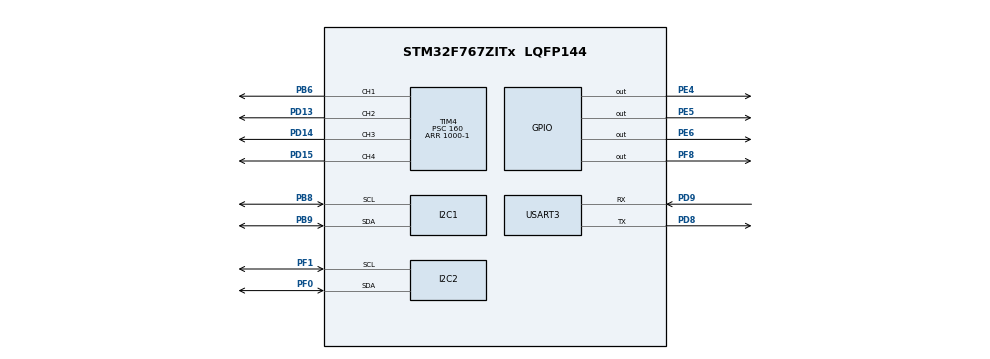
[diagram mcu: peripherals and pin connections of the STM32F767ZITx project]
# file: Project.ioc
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FREERTOS.Tasks01=defaultTask,0,128,StartDefaultTask,Default,NULL,Dynamic,NULL,NULL
Mcu.Family=STM32F7
Mcu.Name=STM32F767ZITx
Mcu.Package=LQFP144
NVIC.PriorityGroup=NVIC_PRIORITYGROUP_4
PB6.Signal=S_TIM4_CH1
PB8.Mode=I2C
PB8.Signal=I2C1_SCL
PB9.Mode=I2C
PB9.Signal=I2C1_SDA
PD13.Signal=S_TIM4_CH2
PD14.Signal=S_TIM4_CH3
PD15.Signal=S_TIM4_CH4
PD8.Mode=Asynchronous
PD8.Signal=USART3_TX
PD9.Mode=Asynchronous
PD9.Signal=USART3_RX
PE4.Signal=GPIO_Output
PE5.Signal=GPIO_Output
PE6.Signal=GPIO_Output
PF0.Mode=I2C
PF0.Signal=I2C2_SDA
PF1.Mode=I2C
PF1.Signal=I2C2_SCL
PF8.Signal=GPIO_Output
ProjectManager.HeapSize=0x200
ProjectManager.StackSize=0x400
ProjectManager.TargetToolchain=STM32CubeIDE
RCC.HSE_VALUE=25000000
RCC.HSI_VALUE=16000000
RCC.LSE_VALUE=32768
RCC.USBFreq_Value=96000000
RCC.VCOOutputFreq_Value=192000000
SH.S_TIM4_CH1.0=TIM4_CH1,PWM Generation1 CH1
SH.S_TIM4_CH2.0=TIM4_CH2,PWM Generation2 CH2
SH.S_TIM4_CH3.0=TIM4_CH3,PWM Generation3 CH3
SH.S_TIM4_CH4.0=TIM4_CH4,PWM Generation4 CH4
TIM4.Channel-PWM\ Generation1\ CH1=TIM_CHANNEL_1
TIM4.Channel-PWM\ Generation2\ CH2=TIM_CHANNEL_2
TIM4.Channel-PWM\ Generation3\ CH3=TIM_CHANNEL_3
TIM4.Channel-PWM\ Generation4\ CH4=TIM_CHANNEL_4
TIM4.Period=1000-1
TIM4.Prescaler=160
USART3.VirtualMode-Asynchronous=VM_ASYNC
VP_FREERTOS_VS_CMSIS_V1.Mode=CMSIS_V1
board=custom

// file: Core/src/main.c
/* USER CODE BEGIN Header */
/**
  ******************************************************************************
  * @file           : main.c
  * @brief          : Main program body
  ******************************************************************************
  * @attention
  *
  * <h2><center>&copy; Copyright (c) 2021 STMicroelectronics.
  * All rights reserved.</center></h2>
  *
  * This software component is licensed by ST under BSD 3-Clause license,
  * the "License"; You may not use this file except in compliance with the
  * License. You may obtain a copy of the License at:
  *                        opensource.org/licenses/BSD-3-Clause
  *
  ******************************************************************************
  */
/* USER CODE END Header */
#include "main.h"
#include "cmsis_os.h"
#include "i2c.h"
#include "tim.h"
#include "usart.h"
#include "gpio.h"

/* USER CODE BEGIN Includes */
#include "FreeRTOS.h"
#include "queue.h"
#include "task.h"
#define STACK_SIZE 128
/* USER CODE END Includes */

void SystemClock_Config(void);
void MX_FREERTOS_Init(void);
/* USER CODE BEGIN PFP */
__STATIC_INLINE void  Configure_TIMPWMOutput(void);
uint32_t TimOutClock;
void Forward(void);
void Backward(void);
void Rightward(void);
void Leftward(void);
void Stop(void);
void Motivation_Task(void);
void Uart_Rx_Task(void);
/* USER CODE END PFP */

/* USER CODE BEGIN 0 */
static QueueHandle_t ledCmdQueue = NULL;
/* USER CODE END 0 */

int main(void)
{

  /* MCU Configuration--------------------------------------------------------*/

  /* Reset of all peripherals, Initializes the Flash interface and the Systick. */

  LL_APB1_GRP1_EnableClock(LL_APB1_GRP1_PERIPH_PWR);
  LL_APB2_GRP1_EnableClock(LL_APB2_GRP1_PERIPH_SYSCFG);

  NVIC_SetPriorityGrouping(NVIC_PRIORITYGROUP_4);

  /* System interrupt init*/
  /* PendSV_IRQn interrupt configuration */
  NVIC_SetPriority(PendSV_IRQn, NVIC_EncodePriority(NVIC_GetPriorityGrouping(),15, 0));
  /* SysTick_IRQn interrupt configuration */
  NVIC_SetPriority(SysTick_IRQn, NVIC_EncodePriority(NVIC_GetPriorityGrouping(),15, 0));

  /* Configure the system clock */
  SystemClock_Config();

  /* Initialize all configured peripherals */
  MX_GPIO_Init();
  MX_TIM4_Init();
  MX_I2C1_Init();
  MX_USART3_UART_Init();
  MX_I2C2_Init();
  /* USER CODE BEGIN 2 */
  Configure_TIMPWMOutput();
  if(xTaskCreate(Motivation_Task, "Motivation_Task", STACK_SIZE, NULL, tskIDLE_PRIORITY + 2,NULL)!=pdPASS){while(1);}
  if(xTaskCreate(Uart_Rx_Task, "Uart_Rx_Task", STACK_SIZE, NULL, tskIDLE_PRIORITY+2,NULL)!=pdPASS){while(1);}
  ledCmdQueue = xQueueCreate(2, sizeof(uint8_t));
  while(ledCmdQueue == NULL);
  vTaskStartScheduler();

  if(0){
  /* USER CODE END 2 */

  /* Call init function for freertos objects (in freertos.c) */
  MX_FREERTOS_Init();
  /* Start scheduler */
  osKernelStart();

  /* We should never get here as control is now taken by the scheduler */
  /* Infinite loop */
  }
  while (1)
  {

    /* USER CODE BEGIN 3 */
	  Forward();
	  Backward();
	  Rightward();
	  Leftward();

   }
  /* USER CODE END 3 */
}

void SystemClock_Config(void)
{
  LL_FLASH_SetLatency(LL_FLASH_LATENCY_0);
  while(LL_FLASH_GetLatency()!= LL_FLASH_LATENCY_0)
  {
  }
  LL_PWR_SetRegulVoltageScaling(LL_PWR_REGU_VOLTAGE_SCALE3);
  LL_PWR_DisableOverDriveMode();
  LL_RCC_HSI_SetCalibTrimming(16);
  LL_RCC_HSI_Enable();

   /* Wait till HSI is ready */
  while(LL_RCC_HSI_IsReady() != 1)
  {

  }
  LL_RCC_SetAHBPrescaler(LL_RCC_SYSCLK_DIV_1);
  LL_RCC_SetAPB1Prescaler(LL_RCC_APB1_DIV_1);
  LL_RCC_SetAPB2Prescaler(LL_RCC_APB2_DIV_1);
  LL_RCC_SetSysClkSource(LL_RCC_SYS_CLKSOURCE_HSI);

   /* Wait till System clock is ready */
  while(LL_RCC_GetSysClkSource() != LL_RCC_SYS_CLKSOURCE_STATUS_HSI)
  {

  }
  LL_Init1msTick(16000000);
  LL_SetSystemCoreClock(16000000);
  LL_RCC_SetUSARTClockSource(LL_RCC_USART3_CLKSOURCE_PCLK1);
  LL_RCC_SetI2CClockSource(LL_RCC_I2C1_CLKSOURCE_PCLK1);
  LL_RCC_SetI2CClockSource(LL_RCC_I2C2_CLKSOURCE_PCLK1);
}

/* USER CODE BEGIN 4 */
__STATIC_INLINE void  Configure_TIMPWMOutput(void)
{
  /*************************/
  /* GPIO AF configuration */
  /*************************/
  /* Enable the peripheral clock of GPIOs */
  LL_AHB1_GRP1_EnableClock(LL_AHB1_GRP1_PERIPH_GPIOD);

  LL_GPIO_InitTypeDef GPIO_InitStruct = {0};
  GPIO_InitStruct.Pin = LL_GPIO_PIN_6;
  GPIO_InitStruct.Mode = LL_GPIO_MODE_ALTERNATE;
  GPIO_InitStruct.Speed = LL_GPIO_SPEED_FREQ_LOW;
  GPIO_InitStruct.OutputType = LL_GPIO_OUTPUT_PUSHPULL;
  GPIO_InitStruct.Pull = LL_GPIO_PULL_NO;
  GPIO_InitStruct.Alternate = LL_GPIO_AF_2;
  LL_GPIO_Init(GPIOB, &GPIO_InitStruct);

  GPIO_InitStruct.Pin = LL_GPIO_PIN_13;
  GPIO_InitStruct.Mode = LL_GPIO_MODE_ALTERNATE;
  GPIO_InitStruct.Speed = LL_GPIO_SPEED_FREQ_LOW;
  GPIO_InitStruct.OutputType = LL_GPIO_OUTPUT_PUSHPULL;
  GPIO_InitStruct.Pull = LL_GPIO_PULL_NO;
  GPIO_InitStruct.Alternate = LL_GPIO_AF_2;
  LL_GPIO_Init(GPIOD, &GPIO_InitStruct);

  GPIO_InitStruct.Pin = LL_GPIO_PIN_14;
  GPIO_InitStruct.Mode = LL_GPIO_MODE_ALTERNATE;
  GPIO_InitStruct.Speed = LL_GPIO_SPEED_FREQ_LOW;
  GPIO_InitStruct.OutputType = LL_GPIO_OUTPUT_PUSHPULL;
  GPIO_InitStruct.Pull = LL_GPIO_PULL_NO;
  GPIO_InitStruct.Alternate = LL_GPIO_AF_2;
  LL_GPIO_Init(GPIOD, &GPIO_InitStruct);

  GPIO_InitStruct.Pin = LL_GPIO_PIN_15;
  GPIO_InitStruct.Mode = LL_GPIO_MODE_ALTERNATE;
  GPIO_InitStruct.Speed = LL_GPIO_SPEED_FREQ_LOW;
  GPIO_InitStruct.OutputType = LL_GPIO_OUTPUT_PUSHPULL;
  GPIO_InitStruct.Pull = LL_GPIO_PULL_NO;
  GPIO_InitStruct.Alternate = LL_GPIO_AF_2;
  LL_GPIO_Init(GPIOD, &GPIO_InitStruct);

  /***********************************************/
  /* Configure the NVIC to handle TIM4 interrupt */
  /***********************************************/
  NVIC_SetPriority(TIM4_IRQn, 0);
  NVIC_DisableIRQ(TIM4_IRQn);

  /******************************/
  /* Peripheral clocks enabling */
  /******************************/
  /* Enable the timer peripheral clock */
  LL_APB1_GRP1_EnableClock(LL_APB1_GRP1_PERIPH_TIM4);

  /***************************/
  /* Time base configuration */
  /***************************/
  /* Set counter mode */
  /* Reset value is LL_TIM_COUNTERMODE_UP */
  LL_TIM_SetCounterMode(TIM4, LL_TIM_COUNTERMODE_UP);

  /* Set the pre-scaler value to have TIM1 counter clock equal to 10 kHz */
  LL_TIM_SetPrescaler(TIM4, __LL_TIM_CALC_PSC(SystemCoreClock, 10000));

  /* Enable TIM1_ARR register preload. Writing to or reading from the         */
  /* auto-reload register accesses the preload register. The content of the   */
  /* preload register are transferred into the shadow register at each update */
  /* event (UEV).                                                             */
  LL_TIM_EnableARRPreload(TIM4);

  /* Set the auto-reload value to have a counter frequency of 100 Hz */
  /* TIM1CLK = SystemCoreClock / (APB prescaler & multiplier)               */
  TimOutClock = SystemCoreClock/2;
  LL_TIM_SetAutoReload(TIM4, __LL_TIM_CALC_ARR(TimOutClock, LL_TIM_GetPrescaler(TIM4), 100));

  /*********************************/
  /* Output waveform configuration */
  /*********************************/
  /* Set output mode */
  /* Reset value is LL_TIM_OCMODE_FROZEN */
  LL_TIM_OC_SetMode(TIM4, LL_TIM_CHANNEL_CH1, LL_TIM_OCMODE_PWM1);
  LL_TIM_OC_SetMode(TIM4, LL_TIM_CHANNEL_CH2, LL_TIM_OCMODE_PWM1);
  LL_TIM_OC_SetMode(TIM4, LL_TIM_CHANNEL_CH3, LL_TIM_OCMODE_PWM1);
  LL_TIM_OC_SetMode(TIM4, LL_TIM_CHANNEL_CH4, LL_TIM_OCMODE_PWM1);

  /* Set output channel polarity */
  /* Reset value is LL_TIM_OCPOLARITY_HIGH */
  LL_TIM_OC_SetPolarity(TIM4, LL_TIM_CHANNEL_CH1, LL_TIM_OCPOLARITY_HIGH);
  LL_TIM_OC_SetPolarity(TIM4, LL_TIM_CHANNEL_CH2, LL_TIM_OCPOLARITY_HIGH);
  LL_TIM_OC_SetPolarity(TIM4, LL_TIM_CHANNEL_CH3, LL_TIM_OCPOLARITY_HIGH);
  LL_TIM_OC_SetPolarity(TIM4, LL_TIM_CHANNEL_CH4, LL_TIM_OCPOLARITY_HIGH);

  /* Set compare value to half of the counter period (50% duty cycle ) */
  LL_TIM_OC_SetCompareCH1(TIM4, 0);
  LL_TIM_OC_SetCompareCH2(TIM4, 0);
  LL_TIM_OC_SetCompareCH3(TIM4, 0);
  LL_TIM_OC_SetCompareCH4(TIM4, 0);

  /* Enable TIM1_CCR1 register preload. Read/Write operations access the      */
  /* preload register. TIM4_CCR1~4 preload value is loaded in the active        */
  /* at each update event.                                                    */
  LL_TIM_OC_EnablePreload(TIM4, LL_TIM_CHANNEL_CH1);
  LL_TIM_OC_EnablePreload(TIM4, LL_TIM_CHANNEL_CH2);
  LL_TIM_OC_EnablePreload(TIM4, LL_TIM_CHANNEL_CH3);
  LL_TIM_OC_EnablePreload(TIM4, LL_TIM_CHANNEL_CH4);

  /**************************/
  /* TIM4 interrupts set-up */
  /**************************/
  /* Enable the capture/compare interrupt for channel 1~4*/
  LL_TIM_EnableIT_CC1(TIM4);
  LL_TIM_EnableIT_CC2(TIM4);
  LL_TIM_EnableIT_CC3(TIM4);
  LL_TIM_EnableIT_CC4(TIM4);

  /**********************************/
  /* Start output signal generation */
  /**********************************/
  /* Enable output channel 1~4 */
  LL_TIM_CC_EnableChannel(TIM4, LL_TIM_CHANNEL_CH1);
  LL_TIM_CC_EnableChannel(TIM4, LL_TIM_CHANNEL_CH2);
  LL_TIM_CC_EnableChannel(TIM4, LL_TIM_CHANNEL_CH3);
  LL_TIM_CC_EnableChannel(TIM4, LL_TIM_CHANNEL_CH4);

  /* Enable counter */
  LL_TIM_EnableCounter(TIM4);

  /* Force update generation */
  LL_TIM_GenerateEvent_UPDATE(TIM4);
}

void Forward(){
	LL_GPIO_ResetOutputPin(GPIOE, LL_GPIO_PIN_4);
	LL_GPIO_SetOutputPin(GPIOF, LL_GPIO_PIN_8);
	LL_GPIO_SetOutputPin(GPIOE, LL_GPIO_PIN_6);
	LL_GPIO_SetOutputPin(GPIOE, LL_GPIO_PIN_5);
	 for(int i=0;i<1000;i++){
	  	 LL_TIM_OC_SetCompareCH2(TIM4, (LL_TIM_GetAutoReload(TIM4)+1)*4/4);
	  	 LL_TIM_OC_SetCompareCH1(TIM4, (LL_TIM_GetAutoReload(TIM4)+1)*0/4);
	  	 LL_TIM_OC_SetCompareCH4(TIM4, (LL_TIM_GetAutoReload(TIM4)+1)*0/4);
	  	 LL_TIM_OC_SetCompareCH3(TIM4, (LL_TIM_GetAutoReload(TIM4)+1)*0/4);
	 }
}

void Backward(){
	LL_GPIO_SetOutputPin(GPIOE, LL_GPIO_PIN_4);
	LL_GPIO_ResetOutputPin(GPIOF, LL_GPIO_PIN_8);
	LL_GPIO_ResetOutputPin(GPIOE, LL_GPIO_PIN_5);
	LL_GPIO_ResetOutputPin(GPIOE, LL_GPIO_PIN_6);
	for(int i=0;i<1000;i++){
		LL_TIM_OC_SetCompareCH2(TIM4, (LL_TIM_GetAutoReload(TIM4)+1)*0/4);
	    LL_TIM_OC_SetCompareCH1(TIM4, (LL_TIM_GetAutoReload(TIM4)+1)*4/4);
	    LL_TIM_OC_SetCompareCH3(TIM4, (LL_TIM_GetAutoReload(TIM4)+1)*4/4);
	    LL_TIM_OC_SetCompareCH4(TIM4, (LL_TIM_GetAutoReload(TIM4)+1)*4/4);
	}
}

void Rightward(){
	LL_GPIO_ResetOutputPin(GPIOE, LL_GPIO_PIN_4);
	LL_GPIO_ResetOutputPin(GPIOF, LL_GPIO_PIN_8);
	LL_GPIO_SetOutputPin(GPIOE, LL_GPIO_PIN_5);
	LL_GPIO_ResetOutputPin(GPIOE, LL_GPIO_PIN_6);
	for(int i=0;i<1000;i++){
		LL_TIM_OC_SetCompareCH2(TIM4, (LL_TIM_GetAutoReload(TIM4)+1)*4/4);
	    LL_TIM_OC_SetCompareCH1(TIM4, (LL_TIM_GetAutoReload(TIM4)+1)*4/4);
	    LL_TIM_OC_SetCompareCH3(TIM4, (LL_TIM_GetAutoReload(TIM4)+1)*0/4);
	    LL_TIM_OC_SetCompareCH4(TIM4, (LL_TIM_GetAutoReload(TIM4)+1)*4/4);
	}
}

void Leftward(){
	LL_GPIO_SetOutputPin(GPIOE, LL_GPIO_PIN_4);
	LL_GPIO_SetOutputPin(GPIOF, LL_GPIO_PIN_8);
	LL_GPIO_ResetOutputPin(GPIOE, LL_GPIO_PIN_5);
	LL_GPIO_SetOutputPin(GPIOE, LL_GPIO_PIN_6);
	for(int i=0;i<1000;i++){
		LL_TIM_OC_SetCompareCH2(TIM4, (LL_TIM_GetAutoReload(TIM4)+1)*0/4);
	    LL_TIM_OC_SetCompareCH1(TIM4, (LL_TIM_GetAutoReload(TIM4)+1)*0/4);
	    LL_TIM_OC_SetCompareCH3(TIM4, (LL_TIM_GetAutoReload(TIM4)+1)*4/4);
	    LL_TIM_OC_SetCompareCH4(TIM4, (LL_TIM_GetAutoReload(TIM4)+1)*0/4);
	}
}

void Stop(){
	LL_GPIO_ResetOutputPin(GPIOE, LL_GPIO_PIN_4);
	LL_GPIO_ResetOutputPin(GPIOF, LL_GPIO_PIN_8);
	LL_GPIO_ResetOutputPin(GPIOE, LL_GPIO_PIN_5);
	LL_GPIO_ResetOutputPin(GPIOE, LL_GPIO_PIN_6);
	LL_TIM_OC_SetCompareCH2(TIM4, (LL_TIM_GetAutoReload(TIM4)+1)*0/4);
	LL_TIM_OC_SetCompareCH1(TIM4, (LL_TIM_GetAutoReload(TIM4)+1)*0/4);
	LL_TIM_OC_SetCompareCH3(TIM4, (LL_TIM_GetAutoReload(TIM4)+1)*0/4);
	LL_TIM_OC_SetCompareCH4(TIM4, (LL_TIM_GetAutoReload(TIM4)+1)*0/4);
}

void Motivation_Task(void)
{
	uint8_t nextCmd = 0;
	while(1){
	if(xQueueReceive(ledCmdQueue, &nextCmd, portMAX_DELAY) == pdTRUE)
	{
		switch(nextCmd)
		{
		case'w':
			Forward();
			break;

		case'a':
			Leftward();
			break;

		case's':
			Backward();
			break;
		case'd':
			Rightward();
			break;
		}
		Stop();
	}
	}
}

void Uart_Rx_Task(void)
{
	uint8_t rec;

	while(1){
		while(!LL_USART_IsActiveFlag_RXNE(USART3));
		rec = LL_USART_ReceiveData8(USART3);
		if(rec == 'w'|| rec == 'a'||rec == 's'||rec == 'd'){
			xQueueSend(ledCmdQueue, &rec, portMAX_DELAY);
			vTaskDelay(1/ portTICK_PERIOD_MS);
		}vTaskDelay(1/ portTICK_PERIOD_MS);
	}
}
/* USER CODE END 4 */

void Error_Handler(void)
{
  __disable_irq();
  while (1)
  {
  }
}

/************************ (C) COPYRIGHT STMicroelectronics *****END OF FILE****/
